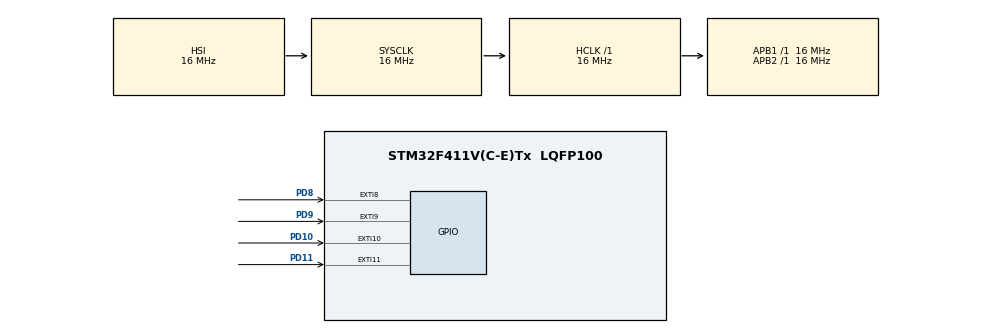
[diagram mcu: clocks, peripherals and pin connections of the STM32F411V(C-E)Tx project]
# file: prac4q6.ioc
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Mcu.Family=STM32F4
Mcu.Name=STM32F411V(C-E)Tx
Mcu.Package=LQFP100
NVIC.EXTI15_10_IRQn=true\:2\:0\:true\:false\:true\:true\:true
NVIC.EXTI9_5_IRQn=true\:2\:0\:true\:false\:true\:true\:true
NVIC.PriorityGroup=NVIC_PRIORITYGROUP_4
PD10.GPIO_ModeDefaultEXTI=GPIO_MODE_IT_RISING_FALLING
PD10.Signal=GPXTI10
PD11.GPIO_ModeDefaultEXTI=GPIO_MODE_IT_RISING_FALLING
PD11.Signal=GPXTI11
PD8.GPIO_ModeDefaultEXTI=GPIO_MODE_IT_RISING_FALLING
PD8.Signal=GPXTI8
PD9.GPIO_ModeDefaultEXTI=GPIO_MODE_IT_RISING_FALLING
PD9.Signal=GPXTI9
ProjectManager.HeapSize=0x200
ProjectManager.StackSize=0x400
ProjectManager.TargetToolchain=STM32CubeIDE
RCC.AHBFreq_Value=16000000
RCC.APB1Freq_Value=16000000
RCC.APB2Freq_Value=16000000
RCC.CortexFreq_Value=16000000
RCC.HSE_VALUE=25000000
RCC.HSI_VALUE=16000000
RCC.LSE_VALUE=32768
RCC.SYSCLKFreq_VALUE=16000000
RCC.VCOOutputFreq_Value=192000000
board=custom

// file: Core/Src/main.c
/* USER CODE BEGIN Header */
/**
  ******************************************************************************
  * @file           : main.c
  * @brief          : Main program body
  ******************************************************************************
  * @attention
  *
  * <h2><center>&copy; Copyright (c) 2020 STMicroelectronics.
  * All rights reserved.</center></h2>
  *
  * This software component is licensed by ST under BSD 3-Clause license,
  * the "License"; You may not use this file except in compliance with the
  * License. You may obtain a copy of the License at:
  *                        opensource.org/licenses/BSD-3-Clause
  *
  ******************************************************************************
  */
/* USER CODE END Header */

#include "main.h"

/* USER CODE BEGIN Includes */
#include "Sprites.h"
/* USER CODE END Includes */

/* USER CODE BEGIN PD */
#define Screen_Start (unsigned char*)0x20020000
/* USER CODE END PD */

/* USER CODE BEGIN PV */
unsigned int moveDirection[4] = {0}; // up, right, left, down
/* USER CODE END PV */

void SystemClock_Config(void);
static void MX_GPIO_Init(void);
/* USER CODE BEGIN PFP */
void BitBlit(unsigned char* ptr_screen, unsigned char* ptr_sprite, int x, int y, int sprite_w, int sprite_h);
unsigned int isMoving(unsigned int direction[]);
void MoveSprite(unsigned int direction[], int* x, int* y, int sprite_w, int sprite_h);
void ClearScreen(unsigned char* ptr_screen, unsigned char colour);
unsigned int isCollision(int x1, int y1, int width, int height, int xMax, int xMin, int yMax, int yMin);
/* USER CODE END PFP */

/* USER CODE BEGIN 0 */
void HAL_GPIO_EXTI_Callback(uint16_t GPIO_Pin)
{
  /* Prevent unused argument(s) compilation warning */
  UNUSED(GPIO_Pin);
  /* NOTE: This function Should not be modified, when the callback is needed,
           the HAL_GPIO_EXTI_Callback could be implemented in the user file
   */
  if (GPIO_Pin == GPIO_PIN_8) { // Up
	  moveDirection[0] = !moveDirection[0];
  }
  if (GPIO_Pin == GPIO_PIN_9) { // Right
	  moveDirection[1] = !moveDirection[1];
  }
  if (GPIO_Pin == GPIO_PIN_10) { // Left
	  moveDirection[2] = !moveDirection[2];
  }
  if (GPIO_Pin == GPIO_PIN_11) { // Down
	  moveDirection[3] = !moveDirection[3];
  }

}
/* USER CODE END 0 */

int main(void)
{
  /* USER CODE BEGIN 1 */
	uint8_t sprites[1344];
	LDRSprites(sprites);
	int sprite1_x = 10;
	int sprite1_y = 10;
	BitBlit(Screen_Start, FindSprite(sprites, INV2), sprite1_x, sprite1_y, INV2_W, INV2_H);

  /* USER CODE END 1 */

  /* MCU Configuration--------------------------------------------------------*/

  /* Reset of all peripherals, Initializes the Flash interface and the Systick. */
  HAL_Init();

  /* Configure the system clock */
  SystemClock_Config();

  /* Initialize all configured peripherals */
  MX_GPIO_Init();

  /* Infinite loop */
  /* USER CODE BEGIN WHILE */
  while (1)
  {
	  if (isMoving(moveDirection)) {
	  MoveSprite(moveDirection, &sprite1_x, &sprite1_y, INV2_H, INV2_W);
	  ClearScreen(Screen_Start, 0);
	  BitBlit(Screen_Start, FindSprite(sprites, INV2), sprite1_x, sprite1_y, INV2_H, INV2_W);
	  }
    /* USER CODE END WHILE */

  }
}

void SystemClock_Config(void)
{
  RCC_OscInitTypeDef RCC_OscInitStruct = {0};
  RCC_ClkInitTypeDef RCC_ClkInitStruct = {0};

  /** Configure the main internal regulator output voltage
  */
  __HAL_RCC_PWR_CLK_ENABLE();
  __HAL_PWR_VOLTAGESCALING_CONFIG(PWR_REGULATOR_VOLTAGE_SCALE1);
  /** Initializes the CPU, AHB and APB busses clocks
  */
  RCC_OscInitStruct.OscillatorType = RCC_OSCILLATORTYPE_HSI;
  RCC_OscInitStruct.HSIState = RCC_HSI_ON;
  RCC_OscInitStruct.HSICalibrationValue = RCC_HSICALIBRATION_DEFAULT;
  RCC_OscInitStruct.PLL.PLLState = RCC_PLL_NONE;
  if (HAL_RCC_OscConfig(&RCC_OscInitStruct) != HAL_OK)
  {
    Error_Handler();
  }
  /** Initializes the CPU, AHB and APB busses clocks
  */
  RCC_ClkInitStruct.ClockType = RCC_CLOCKTYPE_HCLK|RCC_CLOCKTYPE_SYSCLK
                              |RCC_CLOCKTYPE_PCLK1|RCC_CLOCKTYPE_PCLK2;
  RCC_ClkInitStruct.SYSCLKSource = RCC_SYSCLKSOURCE_HSI;
  RCC_ClkInitStruct.AHBCLKDivider = RCC_SYSCLK_DIV1;
  RCC_ClkInitStruct.APB1CLKDivider = RCC_HCLK_DIV1;
  RCC_ClkInitStruct.APB2CLKDivider = RCC_HCLK_DIV1;

  if (HAL_RCC_ClockConfig(&RCC_ClkInitStruct, FLASH_LATENCY_0) != HAL_OK)
  {
    Error_Handler();
  }
}

static void MX_GPIO_Init(void)
{
  GPIO_InitTypeDef GPIO_InitStruct = {0};

  /* GPIO Ports Clock Enable */
  __HAL_RCC_GPIOD_CLK_ENABLE();

  /*Configure GPIO pins : PD8 PD9 PD10 PD11 */
  GPIO_InitStruct.Pin = GPIO_PIN_8|GPIO_PIN_9|GPIO_PIN_10|GPIO_PIN_11;
  GPIO_InitStruct.Mode = GPIO_MODE_IT_RISING_FALLING;
  GPIO_InitStruct.Pull = GPIO_NOPULL;
  HAL_GPIO_Init(GPIOD, &GPIO_InitStruct);

  /* EXTI interrupt init*/
  HAL_NVIC_SetPriority(EXTI9_5_IRQn, 1, 0);
  HAL_NVIC_EnableIRQ(EXTI9_5_IRQn);

  HAL_NVIC_SetPriority(EXTI15_10_IRQn, 1, 0);
  HAL_NVIC_EnableIRQ(EXTI15_10_IRQn);

}

/* USER CODE BEGIN 4 */
void BitBlit(unsigned char* ptr_screen, unsigned char* ptr_sprite, int x, int y, int sprite_w, int sprite_h){

	unsigned char pixelCol;

	for (int row = 0; row < sprite_h; row++) {
		for (int col = 0; col < sprite_w; col++) {
			 pixelCol = *(ptr_sprite + row * sprite_w + col);
			if (pixelCol != 0) {
				*(ptr_screen + (y + row) * 320 + (x + col)) = pixelCol;
			}
		}
	}

}

unsigned int isMoving(unsigned int direction[]) {
	for (int i = 0; i < 4; i++) {
		if (direction[i]) {
			return 1;
		}
	}
	return 0;
}

void MoveSprite(unsigned int direction[], int* x, int* y, int sprite_w, int sprite_h) {

	int yDiff = 0;
	int xDiff = 0;

	if (direction[0]) { // Up
		yDiff = -1;
	}
	else if (direction[3]) { // Down
		yDiff = 1;
	}
	if (direction[1]) { // Right
		xDiff = 1;
	}
	else if (direction[2]) { // Left
		xDiff = -1;
	}

	if (!isCollision((*x + xDiff), (*y + yDiff), sprite_w, sprite_h, 199, 0, 319, 0)) {
		*y += yDiff;
		*x += xDiff;
	}
}

unsigned int isCollision(int x1, int y1, int width, int height, int xMax, int xMin, int yMax, int yMin) {
	if ((x1 + width) >= xMax) {
		return 1;
	}
	else if (x1 <= xMin) {
		return 1;
	}

	if ((y1 + height) >= yMax) {
		return 1;
	}
	else if (y1 <= yMin) {
		return 1;
	}

	return 0;
}

void ClearScreen(unsigned char* ptr_screen, unsigned char colour) {
	for (int row = 0; row < 200; row++) {
		for (int col = 0; col < 320; col++) {
			*(ptr_screen + row*320 + col) = colour;
		}
	}
}
/* USER CODE END 4 */

void Error_Handler(void)
{
}

/************************ (C) COPYRIGHT STMicroelectronics *****END OF FILE****/
